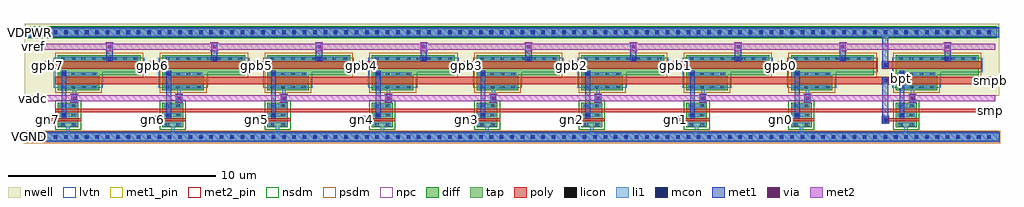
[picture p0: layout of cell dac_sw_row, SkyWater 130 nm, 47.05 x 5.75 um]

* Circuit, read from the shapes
.subckt dac_sw_row VDPWR VGND bp0 bp1 bp2 bp3 bp4 bp5 bp6 bp7 bpt gn0 gn1 gn2 gn3 gn4 gn5 gn6 gn7 gpb0 gpb1 gpb2 gpb3 gpb4 gpb5 gpb6 gpb7 smp smpb vadc vref
XM1 bp7 gn7 VGND VGND sky130_fd_pr__nfet_01v8 w=1 l=0.15
XM2 vadc smp bp7 VGND sky130_fd_pr__nfet_01v8 w=1 l=0.15
XM3 bp6 gn6 VGND VGND sky130_fd_pr__nfet_01v8 w=1 l=0.15
XM4 vadc smp bp6 VGND sky130_fd_pr__nfet_01v8 w=1 l=0.15
XM5 bp5 gn5 VGND VGND sky130_fd_pr__nfet_01v8 w=1 l=0.15
XM6 vadc smp bp5 VGND sky130_fd_pr__nfet_01v8 w=1 l=0.15
XM7 bp4 gn4 VGND VGND sky130_fd_pr__nfet_01v8 w=1 l=0.15
XM8 vadc smp bp4 VGND sky130_fd_pr__nfet_01v8 w=1 l=0.15
XM9 bp3 gn3 VGND VGND sky130_fd_pr__nfet_01v8 w=1 l=0.15
XM10 vadc smp bp3 VGND sky130_fd_pr__nfet_01v8 w=1 l=0.15
XM11 bp2 gn2 VGND VGND sky130_fd_pr__nfet_01v8 w=1 l=0.15
XM12 vadc smp bp2 VGND sky130_fd_pr__nfet_01v8 w=1 l=0.15
XM13 bp1 gn1 VGND VGND sky130_fd_pr__nfet_01v8 w=1 l=0.15
XM14 vadc smp bp1 VGND sky130_fd_pr__nfet_01v8 w=1 l=0.15
XM15 bp0 gn0 VGND VGND sky130_fd_pr__nfet_01v8 w=1 l=0.15
XM16 vadc smp bp0 VGND sky130_fd_pr__nfet_01v8 w=1 l=0.15
XM17 bpt smpb VGND VGND sky130_fd_pr__nfet_01v8 w=1 l=0.15
XM18 vadc smp bpt VGND sky130_fd_pr__nfet_01v8 w=1 l=0.15
XM19 bp7 smpb vadc VDPWR sky130_fd_pr__pfet_01v8_lvt w=2 l=0.35
XM20 vref gpb7 bp7 VDPWR sky130_fd_pr__pfet_01v8_lvt w=4 l=0.35
XM21 bp6 smpb vadc VDPWR sky130_fd_pr__pfet_01v8_lvt w=2 l=0.35
XM22 vref gpb6 bp6 VDPWR sky130_fd_pr__pfet_01v8_lvt w=4 l=0.35
XM23 bp5 smpb vadc VDPWR sky130_fd_pr__pfet_01v8_lvt w=2 l=0.35
XM24 vref gpb5 bp5 VDPWR sky130_fd_pr__pfet_01v8_lvt w=4 l=0.35
XM25 bp4 smpb vadc VDPWR sky130_fd_pr__pfet_01v8_lvt w=2 l=0.35
XM26 vref gpb4 bp4 VDPWR sky130_fd_pr__pfet_01v8_lvt w=4 l=0.35
XM27 bp3 smpb vadc VDPWR sky130_fd_pr__pfet_01v8_lvt w=2 l=0.35
XM28 vref gpb3 bp3 VDPWR sky130_fd_pr__pfet_01v8_lvt w=4 l=0.35
XM29 bp2 smpb vadc VDPWR sky130_fd_pr__pfet_01v8_lvt w=2 l=0.35
XM30 vref gpb2 bp2 VDPWR sky130_fd_pr__pfet_01v8_lvt w=4 l=0.35
XM31 bp1 smpb vadc VDPWR sky130_fd_pr__pfet_01v8_lvt w=2 l=0.35
XM32 vref gpb1 bp1 VDPWR sky130_fd_pr__pfet_01v8_lvt w=4 l=0.35
XM33 bp0 smpb vadc VDPWR sky130_fd_pr__pfet_01v8_lvt w=2 l=0.35
XM34 vref gpb0 bp0 VDPWR sky130_fd_pr__pfet_01v8_lvt w=4 l=0.35
XM35 bpt smpb vadc VDPWR sky130_fd_pr__pfet_01v8_lvt w=2 l=0.35
XM36 vref VDPWR bpt VDPWR sky130_fd_pr__pfet_01v8_lvt w=4 l=0.35
.ends

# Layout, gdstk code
import gdstk
lib = gdstk.Library(unit=1e-6, precision=1e-09)
def R(c, l, rs):  # rectangles x0, y0, x1, y1
    for r in rs: c.add(gdstk.rectangle(r[:2], r[2:], *l))
def A(c, l, x, y, w, h, nx, ny, dx, dy):  # array of equal rectangles
    R(c, l, [(x+i*dx, y+j*dy, x+i*dx+w, y+j*dy+h) for i in range(nx) for j in range(ny)])
nwell = (64, 20)
diff = (65, 20)
tap = (65, 44)
poly = (66, 20)
licon = (66, 44)
li1 = (67, 20)
mcon = (67, 44)
met1_pin = (68, 16)
met1 = (68, 20)
via = (68, 44)
met2_pin = (69, 16)
met2 = (69, 20)
nsdm = (93, 44)
psdm = (94, 20)
npc = (95, 20)
lvtn = (125, 44)

dac_sw_row = lib.new_cell('dac_sw_row')
R(dac_sw_row, nwell, [(0,2.22,47,5.69)])
A(dac_sw_row, diff, 1.6, 0.7, 1, 1.18, 9, 1, 5.05, 0)
A(dac_sw_row, diff, 1.6, 2.49, 2, 0.72, 9, 1, 5.05, 0)
A(dac_sw_row, diff, 1.6, 3.21, 4, 0.96, 9, 1, 5.05, 0)
R(dac_sw_row, tap, [(0.1,0.065,46.9,0.415), (0.25,5.11,46.75,5.46)])
A(dac_sw_row, poly, 0.935, 0.93, 0.33, 0.06, 9, 2, 5.05, 0.21)
A(dac_sw_row, poly, 0.935, 0.99, 1.795, 0.15, 9, 1, 5.05, 0)
A(dac_sw_row, poly, 0.965, 3.53, 4.765, 0.04, 9, 2, 5.05, 0.31)
A(dac_sw_row, poly, 0.935, 3.57, 4.795, 0.27, 9, 1, 5.05, 0)
R(dac_sw_row, poly, [(46.385,1.38,46.715,1.44), (1.47,1.44,46.715,1.59), (46.385,1.59,46.715,1.65), (1.47,2.78,46.715,3.13)])
A(dac_sw_row, licon, 0.415, 0.155, 0.17, 0.17, 93, 2, 0.5, 5.045)
A(dac_sw_row, licon, 1.765, 0.76, 0.17, 0.17, 1, 3, 0, 0.445)
A(dac_sw_row, licon, 2.265, 0.76, 0.17, 0.17, 1, 3, 0, 0.445)
A(dac_sw_row, licon, 6.815, 0.76, 0.17, 0.17, 1, 3, 0, 0.445)
A(dac_sw_row, licon, 7.315, 0.76, 0.17, 0.17, 1, 3, 0, 0.445)
A(dac_sw_row, licon, 11.865, 0.76, 0.17, 0.17, 1, 3, 0, 0.445)
A(dac_sw_row, licon, 12.365, 0.76, 0.17, 0.17, 1, 3, 0, 0.445)
A(dac_sw_row, licon, 16.915, 0.76, 0.17, 0.17, 1, 3, 0, 0.445)
A(dac_sw_row, licon, 17.415, 0.76, 0.17, 0.17, 1, 3, 0, 0.445)
A(dac_sw_row, licon, 21.965, 0.76, 0.17, 0.17, 1, 3, 0, 0.445)
A(dac_sw_row, licon, 22.465, 0.76, 0.17, 0.17, 1, 3, 0, 0.445)
A(dac_sw_row, licon, 27.015, 0.76, 0.17, 0.17, 1, 3, 0, 0.445)
A(dac_sw_row, licon, 27.515, 0.76, 0.17, 0.17, 1, 3, 0, 0.445)
A(dac_sw_row, licon, 32.065, 0.76, 0.17, 0.17, 1, 3, 0, 0.445)
A(dac_sw_row, licon, 32.565, 0.76, 0.17, 0.17, 1, 3, 0, 0.445)
A(dac_sw_row, licon, 37.115, 0.76, 0.17, 0.17, 1, 3, 0, 0.445)
A(dac_sw_row, licon, 37.615, 0.76, 0.17, 0.17, 1, 3, 0, 0.445)
A(dac_sw_row, licon, 42.165, 0.76, 0.17, 0.17, 1, 3, 0, 0.445)
A(dac_sw_row, licon, 42.665, 0.76, 0.17, 0.17, 1, 3, 0, 0.445)
A(dac_sw_row, licon, 1.015, 0.98, 0.17, 0.17, 9, 2, 5.05, 2.64)
A(dac_sw_row, licon, 1.765, 2.55, 0.17, 0.17, 4, 2, 0.5, 0.645)
A(dac_sw_row, licon, 6.815, 2.55, 0.17, 0.17, 4, 2, 0.5, 0.645)
A(dac_sw_row, licon, 11.865, 2.55, 0.17, 0.17, 4, 2, 0.5, 0.645)
A(dac_sw_row, licon, 16.915, 2.55, 0.17, 0.17, 4, 2, 0.5, 0.645)
A(dac_sw_row, licon, 21.965, 2.55, 0.17, 0.17, 4, 2, 0.5, 0.645)
A(dac_sw_row, licon, 27.015, 2.55, 0.17, 0.17, 4, 2, 0.5, 0.645)
A(dac_sw_row, licon, 32.065, 2.55, 0.17, 0.17, 4, 2, 0.5, 0.645)
A(dac_sw_row, licon, 37.115, 2.55, 0.17, 0.17, 4, 2, 0.5, 0.645)
A(dac_sw_row, licon, 42.165, 2.55, 0.17, 0.17, 4, 2, 0.5, 0.645)
A(dac_sw_row, licon, 1.765, 3.94, 0.17, 0.17, 8, 1, 0.5, 0)
A(dac_sw_row, licon, 6.815, 3.94, 0.17, 0.17, 8, 1, 0.5, 0)
A(dac_sw_row, licon, 11.865, 3.94, 0.17, 0.17, 8, 1, 0.5, 0)
A(dac_sw_row, licon, 16.915, 3.94, 0.17, 0.17, 8, 1, 0.5, 0)
A(dac_sw_row, licon, 21.965, 3.94, 0.17, 0.17, 8, 1, 0.5, 0)
A(dac_sw_row, licon, 27.015, 3.94, 0.17, 0.17, 8, 1, 0.5, 0)
A(dac_sw_row, licon, 32.065, 3.94, 0.17, 0.17, 8, 1, 0.5, 0)
A(dac_sw_row, licon, 37.115, 3.94, 0.17, 0.17, 8, 1, 0.5, 0)
A(dac_sw_row, licon, 42.165, 3.94, 0.17, 0.17, 8, 1, 0.5, 0)
R(dac_sw_row, licon, [(46.465,1.43,46.635,1.6), (41.415,2.87,41.585,3.04), (46.465,2.87,46.635,3.04)])
A(dac_sw_row, li1, 2.015, 0.44, 0.17, 0.32, 9, 1, 5.05, 0)
A(dac_sw_row, li1, 1.685, 0.76, 0.83, 0.17, 9, 3, 5.05, 0.445)
A(dac_sw_row, li1, 1.015, 0.9, 0.17, 0.33, 9, 2, 5.05, 2.64)
A(dac_sw_row, li1, 2.315, 1.82, 0.17, 0.73, 9, 1, 5.05, 0)
A(dac_sw_row, li1, 1.685, 2.55, 1.83, 0.17, 9, 2, 5.05, 0.645)
A(dac_sw_row, li1, 1.685, 3.94, 3.83, 0.17, 9, 1, 5.05, 0)
R(dac_sw_row, li1, [(0,0.04,47,0.44), (46.465,1.35,46.635,1.68), (41.415,2.79,41.585,3.12), (46.465,2.79,46.635,3.12), (0,5.08,47,5.48)])
A(dac_sw_row, mcon, 0.415, 0.155, 0.17, 0.17, 93, 2, 0.5, 5.045)
A(dac_sw_row, mcon, 1.015, 0.98, 0.17, 0.17, 9, 2, 5.05, 2.64)
A(dac_sw_row, mcon, 1.815, 1.205, 0.17, 0.17, 9, 2, 5.05, 1.99)
A(dac_sw_row, mcon, 2.315, 2.015, 0.17, 0.17, 9, 1, 5.05, 0)
A(dac_sw_row, mcon, 4.015, 3.94, 0.17, 0.17, 9, 1, 5.05, 0)
R(dac_sw_row, mcon, [(46.465,1.43,46.635,1.6), (41.415,2.87,41.585,3.04), (46.465,2.87,46.635,3.04)])
A(dac_sw_row, met1_pin, 0.955, 0.905, 0.29, 0.32, 8, 2, 5.05, 2.64)
A(dac_sw_row, met1_pin, 1.785, 2.88, 0.23, 0.4, 9, 1, 5.05, 0)
R(dac_sw_row, met1_pin, [(0,0,0.5,0.48), (46.405,1.355,46.695,1.675), (46.405,2.795,46.695,3.115), (0,5.04,0.5,5.52)])
A(dac_sw_row, met1, 0.955, 0.905, 0.29, 0.32, 8, 2, 5.05, 2.64)
A(dac_sw_row, met1, 1.785, 1.145, 0.23, 2.28, 9, 1, 5.05, 0)
A(dac_sw_row, met1, 2.25, 1.915, 0.3, 0.37, 9, 1, 5.05, 0)
A(dac_sw_row, met1, 3.95, 3.88, 0.3, 0.895, 9, 1, 5.05, 0)
R(dac_sw_row, met1, [(0,0,47,0.48), (41.355,0.905,41.645,3.115), (46.405,1.355,46.695,1.675), (46.405,2.795,46.695,3.115), (41.355,3.545,41.645,5.04), (0,5.04,47,5.52)])
A(dac_sw_row, via, 2.325, 2.025, 0.15, 0.15, 9, 1, 5.05, 0)
A(dac_sw_row, via, 4.025, 4.515, 0.15, 0.15, 9, 1, 5.05, 0)
R(dac_sw_row, met2_pin, [(0.2,1.95,0.7,2.25), (0.2,4.44,0.7,4.74)])
A(dac_sw_row, met2, 2.215, 1.885, 0.37, 0.065, 9, 2, 5.05, 0.365)
A(dac_sw_row, met2, 3.915, 4.375, 0.37, 0.065, 9, 2, 5.05, 0.365)
R(dac_sw_row, met2, [(0.2,1.95,46.8,2.25), (0.2,4.44,46.8,4.74)])
A(dac_sw_row, nsdm, 1.475, 0.575, 1.25, 1.43, 9, 1, 5.05, 0)
R(dac_sw_row, nsdm, [(0.125,4.985,46.875,5.585)])
A(dac_sw_row, psdm, 1.475, 2.365, 2.25, 0.72, 9, 1, 5.05, 0)
A(dac_sw_row, psdm, 1.475, 3.085, 4.25, 1.21, 9, 1, 5.05, 0)
R(dac_sw_row, psdm, [(-0.025,-0.06,47.025,0.54)])
A(dac_sw_row, npc, 0.915, 0.88, 0.37, 0.37, 9, 2, 5.05, 2.64)
R(dac_sw_row, npc, [(46.365,1.33,46.735,1.7), (41.315,2.77,41.685,3.14), (46.365,2.77,46.735,3.14)])
A(dac_sw_row, lvtn, 1.42, 2.6, 2.36, 0.75, 9, 1, 5.05, 0)
A(dac_sw_row, lvtn, 1.42, 3.35, 4.36, 0.71, 9, 1, 5.05, 0)
dac_sw_row.add(gdstk.Label('smp', (46.55,1.515), layer=68, texttype=5))
dac_sw_row.add(gdstk.Label('smpb', (46.55,2.955), layer=68, texttype=5))
dac_sw_row.add(gdstk.Label('gn7', (1.1,1.065), layer=68, texttype=5))
dac_sw_row.add(gdstk.Label('gpb7', (1.1,3.705), layer=68, texttype=5))
dac_sw_row.add(gdstk.Label('bp7', (1.9,3.08), layer=68, texttype=5))
dac_sw_row.add(gdstk.Label('gn6', (6.15,1.065), layer=68, texttype=5))
dac_sw_row.add(gdstk.Label('gpb6', (6.15,3.705), layer=68, texttype=5))
dac_sw_row.add(gdstk.Label('bp6', (6.95,3.08), layer=68, texttype=5))
dac_sw_row.add(gdstk.Label('gn5', (11.2,1.065), layer=68, texttype=5))
dac_sw_row.add(gdstk.Label('gpb5', (11.2,3.705), layer=68, texttype=5))
dac_sw_row.add(gdstk.Label('bp5', (12,3.08), layer=68, texttype=5))
dac_sw_row.add(gdstk.Label('gn4', (16.25,1.065), layer=68, texttype=5))
dac_sw_row.add(gdstk.Label('gpb4', (16.25,3.705), layer=68, texttype=5))
dac_sw_row.add(gdstk.Label('bp4', (17.05,3.08), layer=68, texttype=5))
dac_sw_row.add(gdstk.Label('gn3', (21.3,1.065), layer=68, texttype=5))
dac_sw_row.add(gdstk.Label('gpb3', (21.3,3.705), layer=68, texttype=5))
dac_sw_row.add(gdstk.Label('bp3', (22.1,3.08), layer=68, texttype=5))
dac_sw_row.add(gdstk.Label('gn2', (26.35,1.065), layer=68, texttype=5))
dac_sw_row.add(gdstk.Label('gpb2', (26.35,3.705), layer=68, texttype=5))
dac_sw_row.add(gdstk.Label('bp2', (27.15,3.08), layer=68, texttype=5))
dac_sw_row.add(gdstk.Label('gn1', (31.4,1.065), layer=68, texttype=5))
dac_sw_row.add(gdstk.Label('gpb1', (31.4,3.705), layer=68, texttype=5))
dac_sw_row.add(gdstk.Label('bp1', (32.2,3.08), layer=68, texttype=5))
dac_sw_row.add(gdstk.Label('gn0', (36.45,1.065), layer=68, texttype=5))
dac_sw_row.add(gdstk.Label('gpb0', (36.45,3.705), layer=68, texttype=5))
dac_sw_row.add(gdstk.Label('bp0', (37.25,3.08), layer=68, texttype=5))
dac_sw_row.add(gdstk.Label('bpt', (42.3,3.08), layer=68, texttype=5))
dac_sw_row.add(gdstk.Label('vadc', (0.45,2.1), layer=69, texttype=5))
dac_sw_row.add(gdstk.Label('vref', (0.45,4.59), layer=69, texttype=5))
dac_sw_row.add(gdstk.Label('VGND', (0.25,0.24), layer=68, texttype=5))
dac_sw_row.add(gdstk.Label('VDPWR', (0.25,5.28), layer=68, texttype=5))

lib.write_gds('dac_sw_row.gds')
